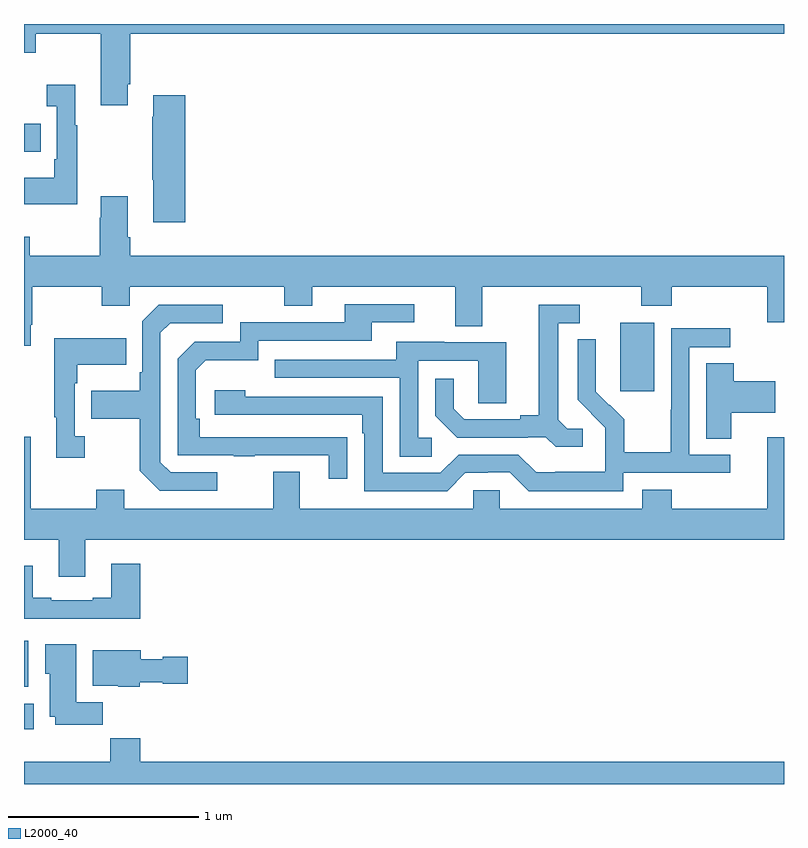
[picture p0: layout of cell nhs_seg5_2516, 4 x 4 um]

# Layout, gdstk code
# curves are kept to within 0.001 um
import gdstk
lib = gdstk.Library(unit=1e-6, precision=1e-09)
def R(c, l, rs):  # rectangles x0, y0, x1, y1
    for r in rs: c.add(gdstk.rectangle(r[:2], r[2:], *l))
def P(c, l, *ps):  # polygons
    for p in ps: c.add(gdstk.Polygon(p, *l))
L2000_40 = (2000, 40)

nhs_seg5_2516 = lib.new_cell('nhs_seg5_2516')
R(nhs_seg5_2516, L2000_40, [(257,865.088,257.05,865.222), (257,865.31,257.023,865.552), (260.138,866.865,260.317,867.226), (257,868.127,257.087,868.275)])
P(nhs_seg5_2516, L2000_40, [(257.545,868.483),(257.558,868.483),(257.558,868.748),(261,868.748),(261,868.799),(257,868.799),(257,868.649),(257.061,868.649),(257.061,868.748),(257.405,868.748),(257.405,868.371),(257.545,868.371)],
  [(257.281,868.267),(257.269,868.267),(257.269,868.48),(257.121,868.48),(257.121,868.367),(257.172,868.367),(257.172,868.087),(257.16,868.087),(257.16,867.991),(257,867.991),(257,867.851),(257.281,867.851)],
  [(257.849,868.423),(257.681,868.423),(257.681,868.31),(257.674,868.31),(257.674,867.979),(257.681,867.979),(257.681,867.756),(257.849,867.756)],
  [(257.035,867.217),(257.043,867.217),(257.043,867.416),(257.41,867.416),(257.41,867.317),(257.556,867.317),(257.556,867.416),(258.37,867.416),(258.37,867.317),(258.517,867.317),(258.517,867.416),(259.271,867.416),(259.271,867.208),(259.411,867.208),(259.411,867.416),(260.248,867.416),(260.248,867.317),(260.408,867.317),(260.408,867.416),(260.912,867.416),(260.912,867.228),(261,867.228),(261,867.58),(257.558,867.58),(257.558,867.676),(257.545,867.676),(257.545,867.892),(257.405,867.892),(257.405,867.779),(257.398,867.779),(257.398,867.58),(257.031,867.58),(257.031,867.679),(257,867.679),(257,867.105),(257.035,867.105)],
  [(258.701,866.624),(257.924,866.625),(257.924,866.722),(257.904,866.722),(257.904,866.976),(257.957,867.029),(258.234,867.029),(258.234,867.132),(258.829,867.132),(258.829,867.228),(259.054,867.228),(259.054,867.324),(258.689,867.324),(258.689,867.228),(258.138,867.228),(258.138,867.126),(257.898,867.126),(257.808,867.036),(257.808,866.529),(258.103,866.529),(258.103,866.524),(258.215,866.524),(258.215,866.529),(258.605,866.529),(258.605,866.406),(258.701,866.406)],
  [(259.942,866.67),(259.86,866.67),(259.813,866.717),(259.813,867.225),(259.924,867.225),(259.924,867.321),(259.709,867.321),(259.709,866.741),(259.613,866.741),(259.613,866.718),(259.318,866.718),(259.261,866.775),(259.261,866.932),(259.164,866.932),(259.164,866.738),(259.28,866.622),(259.652,866.622),(259.652,866.625),(259.746,866.625),(259.798,866.573),(259.942,866.573)],
  [(258.016,866.439),(257.772,866.439),(257.718,866.493),(257.718,867.174),(257.769,867.225),(258.046,867.225),(258.046,867.321),(257.709,867.321),(257.622,867.234),(257.622,866.965),(257.61,866.965),(257.61,866.869),(257.353,866.869),(257.353,866.722),(257.61,866.722),(257.61,866.449),(257.715,866.343),(258.016,866.343)],
  [(260.154,866.436),(260.716,866.436),(260.716,866.532),(260.502,866.532),(260.502,867.099),(260.716,867.099),(260.716,867.198),(260.406,867.198),(260.406,866.768),(260.404,866.768),(260.404,866.545),(260.159,866.545),(260.159,866.719),(260.082,866.796),(260.079,866.793),(260.009,866.864),(260.01,867.14),(259.914,867.14),(259.914,866.822),(260.06,866.674),(260.06,866.577),(260.058,866.577),(260.058,866.443),(259.795,866.443),(259.795,866.439),(259.695,866.439),(259.602,866.532),(259.287,866.532),(259.191,866.436),(258.888,866.436),(258.888,866.838),(258.164,866.838),(258.164,866.872),(258.003,866.872),(258.003,866.742),(258.779,866.742),(258.779,866.645),(258.792,866.645),(258.792,866.34),(259.227,866.34),(259.323,866.436),(259.442,866.436),(259.442,866.439),(259.557,866.439),(259.657,866.339),(260.154,866.339)],
  [(257.32,866.63),(257.268,866.63),(257.268,866.909),(257.281,866.909),(257.281,867.005),(257.537,867.005),(257.537,867.145),(257.16,867.145),(257.16,866.729),(257.171,866.729),(257.171,866.517),(257.32,866.517)],
  [(259.147,866.622),(259.074,866.622),(259.074,867.027),(259.392,867.027),(259.392,866.803),(259.537,866.803),(259.537,867.123),(259.213,867.123),(259.213,867.127),(258.959,867.127),(258.959,867.033),(258.319,867.033),(258.319,866.937),(258.978,866.937),(258.978,866.521),(259.147,866.521)],
  [(260.722,866.753),(260.953,866.753),(260.953,866.919),(260.735,866.919),(260.735,867.014),(260.591,867.014),(260.591,866.617),(260.722,866.617)],
  [(257.323,866.084),(261,866.084),(261,866.623),(260.912,866.623),(260.912,866.248),(260.408,866.248),(260.408,866.347),(260.255,866.347),(260.255,866.248),(259.503,866.248),(259.503,866.346),(259.365,866.346),(259.365,866.248),(258.451,866.248),(258.451,866.443),(258.311,866.443),(258.311,866.248),(257.527,866.248),(257.527,866.347),(257.38,866.347),(257.38,866.248),(257.035,866.248),(257.035,866.626),(257,866.626),(257,866.084),(257.183,866.084),(257.183,865.89),(257.323,865.89)],
  [(257.612,865.957),(257.459,865.957),(257.459,865.78),(257.363,865.78),(257.363,865.767),(257.143,865.767),(257.143,865.78),(257.047,865.78),(257.047,865.948),(257,865.948),(257,865.67),(257.612,865.67)],
  [(257.414,865.228),(257.275,865.228),(257.275,865.534),(257.111,865.534),(257.111,865.38),(257.135,865.38),(257.135,865.154),(257.165,865.154),(257.165,865.11),(257.414,865.11)],
  [(257.61,865.334),(257.73,865.334),(257.73,865.327),(257.863,865.327),(257.863,865.469),(257.73,865.469),(257.73,865.456),(257.614,865.456),(257.614,865.504),(257.363,865.504),(257.363,865.316),(257.496,865.316),(257.496,865.31),(257.61,865.31)],
  [(261,864.916),(257.612,864.916),(257.612,865.04),(257.455,865.04),(257.455,864.916),(257,864.916),(257,864.799),(261,864.799)])

lib.write_gds('nhs_seg5_2516.gds')
